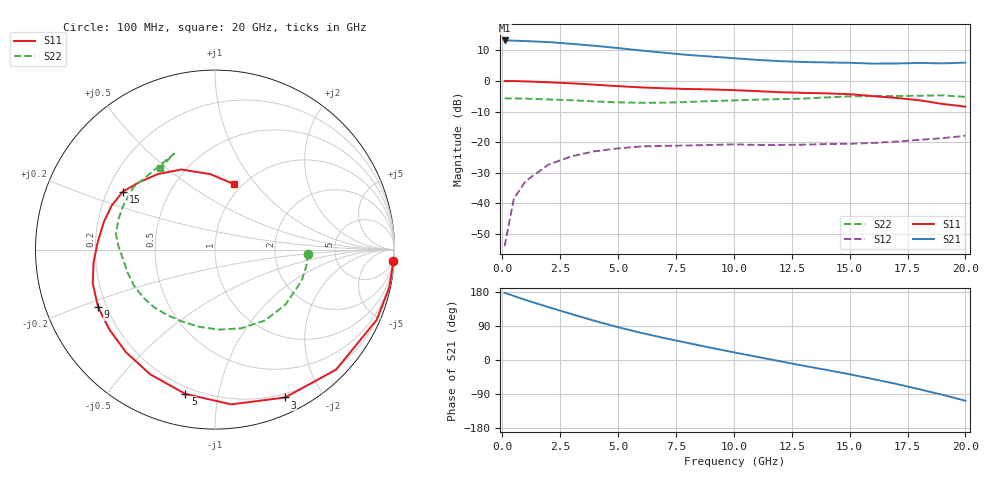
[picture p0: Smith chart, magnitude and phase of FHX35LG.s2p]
! fhx35lg.s2p  4/90
! FHX35LG
! @3V-10mA
! .1GHZ 20GHZ 22
# GHZ S MA R 50
! S-parameter data
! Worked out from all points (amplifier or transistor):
!   22 points, 100 MHz to 20 GHz, reference 50 ohm
!   highest |S21| = 13.2 dB at 100 MHz (marker M1)
!   |S21| within 3 dB of that: start of sweep to 5.636 GHz
!   unconditionally stable (mu >= 1): 11.88 GHz to end of sweep
!   at 2 GHz: K = 0.21, MSG = 20.0 dB, |S12| = -27.3 dB
!   at 10 GHz: K = 0.79, MSG = 14.1 dB, |S12| = -20.7 dB
!   at 20 GHz: K = 1.20, MAG = 9.3 dB, |S12| = -17.9 dB
!   lowest NFmin = 0.40 dB at 2 GHz
!   S11 on the Smith chart (normalised r, x): 100 MHz: 2, -33; 3 GHz: 0.16, -1.57; 5 GHz: 0.16, -0.80; 9 GHz: 0.17, -0.23; 15 GHz: 0.26, +0.27; 20 GHz: 0.91, +0.78
0.1  0.996 -3.5  4.576 177.2  0.002 81.2  0.516 -2.5
0.5  0.994 -12.1  4.548 169.0  0.012 79.3  0.517 -10.2
1  0.982 -23.5  4.471 158.5  0.023 73.1  0.513 -19.9
2  0.95 -44.7  4.304 139.3  0.043 57.9  0.498 -38.0
3  0.912 -64.6  4.026 121.0  0.059 44.6  0.483 -54.9
4  0.867 -84.0  3.742 103.1  0.071 31.8  0.462 -71.9
5  0.821 -101.6  3.436 86.6  0.079 20.0  0.446 -87.6
6  0.783 -117.5  3.132 71.6  0.085 9.8  0.439 -102.2
7  0.757 -130.9  2.881 57.9  0.087 0.9  0.441 -115.3
8  0.738 -142.8  2.659 45.0  0.088 -7.1  0.452 -126.7
9  0.726 -153.8  2.497 32.4  0.09 -15.3  0.468 -136.9
10  0.707 -164.5  2.347 20.2  0.092 -21.7  0.48 -146.1
11  0.68 -174.1  2.206 8.4  0.09 -27.8  0.494 -156.0
12  0.654 176.1  2.101 -3.4  0.09 -35.5  0.503 -164.8
13  0.638 166.0  2.035 -15.1  0.091 -42.6  0.514 -173.8
14  0.626 157.1  2.003 -26.2  0.093 -49.6  0.537 178.4
15  0.607 147.8  1.975 -37.6  0.094 -55.8  0.559 171.0
16  0.565 138.4  1.917 -50.1  0.097 -64.7  0.564 162.7
17  0.528 127.2  1.924 -62.9  0.102 -73.3  0.567 154.4
18  0.484 112.8  1.966 -77.1  0.109 -86.2  0.572 142.7
19  0.421 93.5  1.932 -91.7  0.116 -96.2  0.581 113.1
20  0.38 74.2  1.991 -107.4  0.127 -110.9  0.547 124.3
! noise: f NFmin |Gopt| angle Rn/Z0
2  0.4  0.81  32  0.58
4  0.5  0.74  63  0.42
6  0.68  0.69  93  0.3
8  0.86  0.64  127  0.2
10  1.03  0.6  148  0.12
12  1.2  0.56  175  0.08
14  1.38  0.53  -162  0.08
16  1.54  0.5  -139  0.1
18  1.7  0.48  -117  0.14
